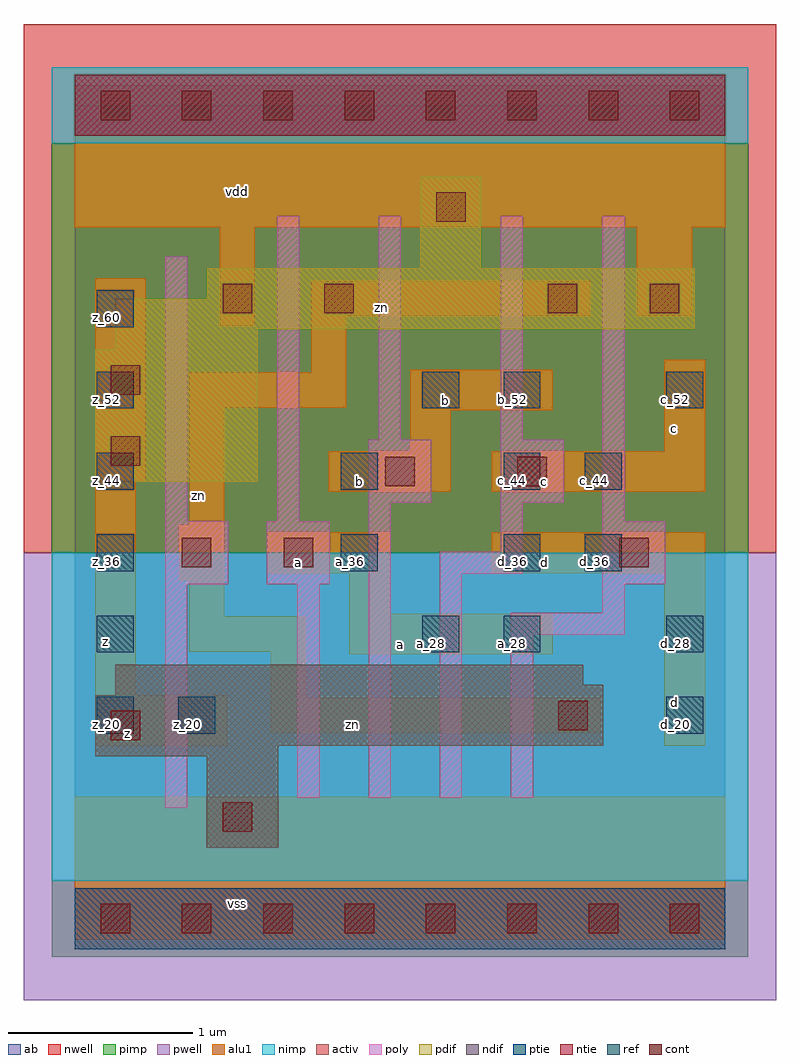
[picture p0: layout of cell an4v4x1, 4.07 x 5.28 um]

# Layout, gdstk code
import gdstk
lib = gdstk.Library(unit=1e-6, precision=2.5e-09)
def R(c, l, rs):  # rectangles x0, y0, x1, y1
    for r in rs: c.add(gdstk.rectangle(r[:2], r[2:], *l))
def A(c, l, x, y, w, h, nx, ny, dx, dy):  # array of equal rectangles
    R(c, l, [(x+i*dx, y+j*dy, x+i*dx+w, y+j*dy+h) for i in range(nx) for j in range(ny)])
ndif = (3, 0)
pdif = (4, 0)
ntie = (5, 0)
ptie = (6, 0)
ref = (24, 0)
cont = (25, 0)
pwell = (41, 0)
nwell = (42, 0)
activ = (43, 0)
pimp = (44, 0)
nimp = (45, 0)
poly = (46, 0)
alu1 = (49, 0)
ab = (63, 0)

an4v4x1 = lib.new_cell('an4v4x1')
R(an4v4x1, ndif, [(0.715,0.385,1.1,0.88), (0.11,0.88,1.1,0.935), (0.11,0.935,2.86,1.21), (0.22,1.21,2.86,1.265), (0.22,1.265,2.75,1.375)])
R(an4v4x1, pdif, [(0.11,2.365,0.99,3.08), (0.22,3.08,0.99,3.19), (0.22,3.19,3.355,3.355), (0.715,3.355,3.355,3.52), (1.87,3.52,2.2,4.015)])
R(an4v4x1, ntie, [(0,4.235,3.52,4.565)])
R(an4v4x1, ptie, [(0,-0.165,3.52,0.165)])
A(an4v4x1, ref, 0.12, 1, 0.2, 0.2, 1, 6, 0, 0.44)
A(an4v4x1, ref, 2.32, 1.44, 0.2, 0.2, 1, 4, 0, 0.44)
R(an4v4x1, ref, [(0.56,1,0.76,1.2), (3.2,1,3.4,1.2), (1.88,1.44,2.08,1.64), (3.2,1.44,3.4,1.64), (1.44,1.88,1.64,2.08), (2.76,1.88,2.96,2.08), (1.44,2.32,1.64,2.52), (2.76,2.32,2.96,2.52), (1.88,2.76,2.08,2.96), (3.2,2.76,3.4,2.96)])
A(an4v4x1, cont, 0.14, -0.08, 0.16, 0.16, 8, 2, 0.44, 4.4)
R(an4v4x1, cont, [(0.8,0.47,0.96,0.63), (0.195,0.965,0.355,1.125), (2.615,1.02,2.775,1.18), (0.58,1.9,0.74,2.06), (1.13,1.9,1.29,2.06), (2.945,1.9,3.105,2.06), (1.68,2.34,1.84,2.5), (2.395,2.34,2.555,2.5), (0.195,2.45,0.355,2.61), (0.195,2.835,0.355,2.995), (0.8,3.275,0.96,3.435), (1.35,3.275,1.51,3.435), (2.56,3.275,2.72,3.435), (3.11,3.275,3.27,3.435), (1.955,3.77,2.115,3.93)])
R(an4v4x1, pwell, [(-0.275,-0.44,3.795,1.98)])
R(an4v4x1, nwell, [(-0.275,1.98,3.795,4.84)])
R(an4v4x1, activ, [(0,-0.165,3.52,0.165), (0.715,0.385,1.1,0.88), (0.11,0.88,1.1,0.935), (0.11,0.935,2.86,1.21), (0.22,1.21,2.86,1.265), (0.22,1.265,2.75,1.375), (0.11,2.365,0.99,3.08), (0.22,3.08,0.99,3.19), (0.22,3.19,3.355,3.355), (0.715,3.355,3.355,3.52), (1.87,3.52,2.2,4.015), (0,4.235,3.52,4.565)])
R(an4v4x1, pimp, [(-0.125,-0.205,3.645,0.205), (-0.125,1.98,3.645,4.195)])
R(an4v4x1, nimp, [(-0.125,0.205,3.645,1.98), (-0.125,4.195,3.645,4.605)])
R(an4v4x1, poly, [(0.49,0.6,0.61,1.81), (1.205,0.655,1.325,1.81), (1.59,0.655,1.71,2.25), (1.975,0.655,2.095,1.865), (2.36,0.655,2.48,1.535), (2.36,1.535,2.975,1.655), (2.855,1.655,2.975,1.81), (0.49,1.81,0.83,2.15), (1.04,1.81,1.38,2.15), (2.855,1.81,3.195,2.15), (1.975,1.865,2.425,1.985), (2.305,1.985,2.425,2.25), (0.49,2.15,0.61,3.58), (1.095,2.15,1.215,3.8), (2.855,2.15,2.975,3.8), (1.59,2.25,1.93,2.59), (2.305,2.25,2.645,2.59), (1.645,2.59,1.765,3.8), (2.305,2.59,2.425,3.8)])
R(an4v4x1, alu1, [(0,-0.11,3.52,0.66), (0.11,0.935,0.825,1.21), (3.19,0.935,3.41,1.87), (1.06,1.005,2.845,1.195), (1.06,1.195,1.25,1.445), (0.11,1.21,0.33,2.365), (1.485,1.43,2.585,1.65), (0.62,1.445,1.25,1.635), (0.62,1.635,0.81,1.83), (1.485,1.65,1.705,1.87), (0.565,1.83,0.81,2.13), (1.045,1.87,1.705,2.09), (2.255,1.87,3.41,2.09), (0.62,2.13,0.81,2.765), (1.375,2.31,2.035,2.53), (2.255,2.31,3.41,2.53), (0.11,2.365,0.385,3.465), (1.815,2.53,2.035,2.75), (3.19,2.53,3.41,3.025), (1.815,2.75,2.585,2.97), (0.62,2.765,1.47,2.955), (1.28,2.955,1.47,3.26), (0.785,3.205,0.975,3.74), (1.28,3.26,2.79,3.45), (3.04,3.26,3.34,3.74), (0,3.74,3.52,4.51)])
R(an4v4x1, ab, [(0,0,3.52,4.4)])
an4v4x1.add(gdstk.Label('vss', (0.88,0.0825), layer=49, texttype=0))
an4v4x1.add(gdstk.Label('d', (3.245,1.1675), layer=49, texttype=0))
an4v4x1.add(gdstk.Label('zn', (1.505,1.0525), layer=49, texttype=0))
an4v4x1.add(gdstk.Label('a', (1.76,1.485), layer=49, texttype=0))
an4v4x1.add(gdstk.Label('z', (0.2875,1.0025), layer=49, texttype=0))
an4v4x1.add(gdstk.Label('d', (2.5425,1.925), layer=49, texttype=0))
an4v4x1.add(gdstk.Label('a', (1.21,1.925), layer=49, texttype=0))
an4v4x1.add(gdstk.Label('c', (2.5425,2.365), layer=49, texttype=0))
an4v4x1.add(gdstk.Label('b', (1.54,2.365), layer=49, texttype=0))
an4v4x1.add(gdstk.Label('c', (3.245,2.6525), layer=49, texttype=0))
an4v4x1.add(gdstk.Label('b', (2.0075,2.805), layer=49, texttype=0))
an4v4x1.add(gdstk.Label('zn', (0.6675,2.2875), layer=49, texttype=0))
an4v4x1.add(gdstk.Label('z', (0.165,1.4975), layer=49, texttype=0))
an4v4x1.add(gdstk.Label('zn', (1.6575,3.3075), layer=49, texttype=0))
an4v4x1.add(gdstk.Label('vdd', (0.88,3.9325), layer=49, texttype=0))
an4v4x1.add(gdstk.Label('z_20', (0.61,1.05), layer=24, texttype=0))
an4v4x1.add(gdstk.Label('a_36', (1.49,1.93), layer=24, texttype=0))
an4v4x1.add(gdstk.Label('b_44', (1.49,2.37), layer=24, texttype=0))
an4v4x1.add(gdstk.Label('a_28', (1.93,1.49), layer=24, texttype=0))
an4v4x1.add(gdstk.Label('b_52', (1.93,2.81), layer=24, texttype=0))
an4v4x1.add(gdstk.Label('z_20', (0.17,1.05), layer=24, texttype=0))
an4v4x1.add(gdstk.Label('z_28', (0.17,1.49), layer=24, texttype=0))
an4v4x1.add(gdstk.Label('z_36', (0.17,1.93), layer=24, texttype=0))
an4v4x1.add(gdstk.Label('z_44', (0.17,2.37), layer=24, texttype=0))
an4v4x1.add(gdstk.Label('z_52', (0.17,2.81), layer=24, texttype=0))
an4v4x1.add(gdstk.Label('z_60', (0.17,3.25), layer=24, texttype=0))
an4v4x1.add(gdstk.Label('a_28', (2.37,1.49), layer=24, texttype=0))
an4v4x1.add(gdstk.Label('d_36', (2.37,1.93), layer=24, texttype=0))
an4v4x1.add(gdstk.Label('c_44', (2.37,2.37), layer=24, texttype=0))
an4v4x1.add(gdstk.Label('b_52', (2.37,2.81), layer=24, texttype=0))
an4v4x1.add(gdstk.Label('d_36', (2.81,1.93), layer=24, texttype=0))
an4v4x1.add(gdstk.Label('c_44', (2.81,2.37), layer=24, texttype=0))
an4v4x1.add(gdstk.Label('d_20', (3.25,1.05), layer=24, texttype=0))
an4v4x1.add(gdstk.Label('d_28', (3.25,1.49), layer=24, texttype=0))
an4v4x1.add(gdstk.Label('c_52', (3.25,2.81), layer=24, texttype=0))

lib.write_gds('an4v4x1.gds')
